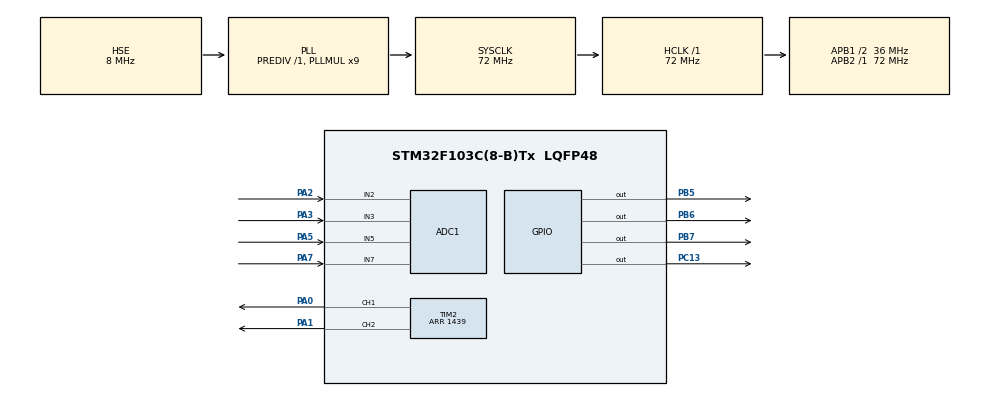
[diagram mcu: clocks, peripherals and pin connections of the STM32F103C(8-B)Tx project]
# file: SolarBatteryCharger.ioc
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ADC1.Channel-16\#ChannelRegularConversion=ADC_CHANNEL_7
ADC1.Channel-17\#ChannelRegularConversion=ADC_CHANNEL_5
ADC1.Channel-18\#ChannelRegularConversion=ADC_CHANNEL_2
ADC1.Channel-3\#ChannelRegularConversion=ADC_CHANNEL_3
ADC1.ContinuousConvMode=DISABLE
ADC1.DiscontinuousConvMode=ENABLE
ADC1.EnableAnalogWatchDog=false
ADC1.EnableInjectedConversion=DISABLE
ADC1.ExternalTrigConv=ADC_SOFTWARE_START
ADC1.NbrOfConversion=4
ADC1.NbrOfConversionFlag=1
ADC1.Rank-16\#ChannelRegularConversion=2
ADC1.Rank-17\#ChannelRegularConversion=3
ADC1.Rank-18\#ChannelRegularConversion=4
ADC1.Rank-3\#ChannelRegularConversion=1
ADC1.SamplingTime-16\#ChannelRegularConversion=ADC_SAMPLETIME_1CYCLE_5
ADC1.SamplingTime-17\#ChannelRegularConversion=ADC_SAMPLETIME_1CYCLE_5
ADC1.SamplingTime-18\#ChannelRegularConversion=ADC_SAMPLETIME_1CYCLE_5
ADC1.SamplingTime-3\#ChannelRegularConversion=ADC_SAMPLETIME_1CYCLE_5
ADC1.master=1
Mcu.Family=STM32F1
Mcu.Name=STM32F103C(8-B)Tx
Mcu.Package=LQFP48
NVIC.PriorityGroup=NVIC_PRIORITYGROUP_4
NVIC.TIM4_IRQn=true\:0\:0\:false\:false\:true\:true\:true\:true
PA0-WKUP.Signal=S_TIM2_CH1_ETR
PA1.Signal=S_TIM2_CH2
PA13.Mode=Serial_Wire
PA13.Signal=SYS_JTMS-SWDIO
PA14.Mode=Serial_Wire
PA14.Signal=SYS_JTCK-SWCLK
PA2.Signal=ADCx_IN2
PA3.Signal=ADCx_IN3
PA5.Signal=ADCx_IN5
PA7.Signal=ADCx_IN7
PB5.Signal=GPIO_Output
PB6.Signal=GPIO_Output
PB7.Signal=GPIO_Output
PC13-TAMPER-RTC.GPIO_PuPd=GPIO_NOPULL
PC13-TAMPER-RTC.Signal=GPIO_Output
PD0-OSC_IN.Mode=HSE-External-Oscillator
PD0-OSC_IN.Signal=RCC_OSC_IN
PD1-OSC_OUT.Mode=HSE-External-Oscillator
PD1-OSC_OUT.Signal=RCC_OSC_OUT
ProjectManager.HeapSize=0x200
ProjectManager.StackSize=0x400
ProjectManager.TargetToolchain=STM32CubeIDE
RCC.ADCPresc=RCC_ADCPCLK2_DIV6
RCC.AHBFreq_Value=72000000
RCC.APB1CLKDivider=RCC_HCLK_DIV2
RCC.APB1Freq_Value=36000000
RCC.APB1TimFreq_Value=72000000
RCC.APB2Freq_Value=72000000
RCC.APB2TimFreq_Value=72000000
RCC.HCLKFreq_Value=72000000
RCC.PLLMUL=RCC_PLL_MUL9
RCC.PLLSourceVirtual=RCC_PLLSOURCE_HSE
RCC.SYSCLKFreq_VALUE=72000000
RCC.SYSCLKSource=RCC_SYSCLKSOURCE_PLLCLK
RCC.USBFreq_Value=72000000
SH.ADCx_IN2.0=ADC1_IN2,IN2
SH.ADCx_IN3.0=ADC1_IN3,IN3
SH.ADCx_IN5.0=ADC1_IN5,IN5
SH.ADCx_IN7.0=ADC1_IN7,IN7
SH.S_TIM2_CH1_ETR.0=TIM2_CH1,PWM Generation1 CH1
SH.S_TIM2_CH2.0=TIM2_CH2,PWM Generation2 CH2
TIM2.Channel-PWM\ Generation1\ CH1=TIM_CHANNEL_1
TIM2.Channel-PWM\ Generation2\ CH2=TIM_CHANNEL_2
TIM2.Period=1439
TIM4.AutoReloadPreload=TIM_AUTORELOAD_PRELOAD_DISABLE
TIM4.ClockDivision=TIM_CLOCKDIVISION_DIV1
TIM4.Period=47999
TIM4.Prescaler=59999
VP_TIM4_VS_ClockSourceINT.Mode=Internal
board=custom

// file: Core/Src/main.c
/* USER CODE BEGIN Header */
/**
  ******************************************************************************
  * @file           : main.c
  * @brief          : Main program body
  ******************************************************************************
  * @attention
  *
  * Copyright (c) 2025 STMicroelectronics.
  * All rights reserved.
  *
  * This software is licensed under terms that can be found in the LICENSE file
  * in the root directory of this software component.
  * If no LICENSE file comes with this software, it is provided AS-IS.
  *
  ******************************************************************************
  */
/* USER CODE END Header */
#include "main.h"

/* USER CODE BEGIN Includes */
#define I_MAX 0.4
#define V_MAX 13.6//14.3
#define VOLT_READINGS 40
#define CURRENT_READINGS 40
#define ADC_READINGS 4
#define R2 39.0 // kOhm
#define R3 10.0 // kOhm
#define R5 47.0 // kOhm
#define R6 10.0 // kOhm
//#define R17 47.0 // kOhm
//#define R12 2.7 // kOhm
#define R19 39 // kOhm
#define R20 2.7 // kOhm
#define R_PANEL_SHUNT 3.3 // Ohm
#define R_SHUNT 0.22 // Ohm
#define Vref 3.25 // Hardcode horrible para probar

#define ADC0CAL 0
#define ADC1CAL 0
#define ADC2CAL 550
#define ADC3CAL 0

/* USER CODE END Includes */

ADC_HandleTypeDef hadc1;

TIM_HandleTypeDef htim2;
TIM_HandleTypeDef htim4;

void SystemClock_Config(void);
static void MX_GPIO_Init(void);
static void MX_TIM2_Init(void);
static void MX_ADC1_Init(void);
static void MX_TIM4_Init(void);

/* USER CODE BEGIN 0 */

uint16_t duty1 = 50;  // CH1 (PA0)
uint16_t duty2 = 35;  // CH2 (PA1)
uint16_t duty1_ccr = 720;
uint16_t duty2_ccr = 720;
uint16_t power_on_flag = 1;
float adc_readings[ADC_READINGS];
float voltage_panel[VOLT_READINGS];
float volt_panel_avg=0.0;
float voltage_battery[VOLT_READINGS];
float volt_batt_avg=0.0;
float test_shunt_panel[CURRENT_READINGS];
float current_panel_avg=0.0;
float volt1_shunt[CURRENT_READINGS];
float volt1_avg=0.0;
float load_current=0.0;

uint16_t tim4_counterr = 0; // Each count is 40s, up to the desired check value in standby mode.

/* State machine states:
	0: Standby
	1: Sunlight check
	2: Charge battery
*/
uint16_t sm_state = 0;

void SetDutyCycle(TIM_HandleTypeDef *htim, uint32_t Channel, uint32_t DutyPercent)
{
  uint32_t arr = htim->Init.Period + 1;
  uint32_t ccr = (DutyPercent * arr) / 100;
  __HAL_TIM_SET_COMPARE(htim, Channel, ccr);
}

void readADC_inputs()
{
	for(int i=0; i<ADC_READINGS; i++)
	{
		HAL_ADC_Start(&hadc1); // Start ADC Conversion
		HAL_ADC_PollForConversion(&hadc1, 1); // Poll ADC1 Peripheral & TimeOut = 1mSec
		adc_readings[i] = HAL_ADC_GetValue(&hadc1); // Read ADC Conversion Result
		HAL_Delay(1);
	}
}

void sunlightCheck()
{
	// Activate solar panel test with current source (view schematic)
	SetDutyCycle(&htim2, TIM_CHANNEL_2, duty2);
	// Wait 500ms
	HAL_Delay(500);
	// Read panel voltage divider and test current values
	for(int i=0; i < VOLT_READINGS; i++)
	{
		readADC_inputs();
		voltage_panel[i] = adc_readings[0];
		test_shunt_panel[i] = adc_readings[1];
		voltage_battery[i] = adc_readings[2];
		HAL_Delay(1);
	}

	// Deactivate solar panel test with current source
	SetDutyCycle(&htim2, TIM_CHANNEL_2, 0);

	// Average readings
	volt_panel_avg = 0;
	current_panel_avg = 0;
	volt_batt_avg = 0;
	for(int i=0; i < VOLT_READINGS; i++)
	{
		volt_panel_avg += voltage_panel[i] + ADC1CAL;
		current_panel_avg += test_shunt_panel[i] + ADC0CAL;
		volt_batt_avg += voltage_battery[i] + ADC2CAL;
	}
	// Calculate real average panel voltage and test current
	volt_panel_avg = ( ((volt_panel_avg / VOLT_READINGS)*Vref)/4095.0 ) * ((R5+R6)/R6) ;
	current_panel_avg = ( ((current_panel_avg / VOLT_READINGS)*Vref)/4095.0 ) / R_PANEL_SHUNT;
	volt_batt_avg = ( ((volt_panel_avg / VOLT_READINGS)*Vref)/4095.0 ) * ((R2+R3)/R3);
}

void testADC()
{
   // Read shunt terminal voltages
   for(int i=0; i < VOLT_READINGS; i++)
	{
		readADC_inputs();
		voltage_panel[i] = adc_readings[0];
		test_shunt_panel[i] = adc_readings[1];
		voltage_battery[i] = adc_readings[2];
		volt1_shunt[i] = adc_readings[3];
	}
   // Average readings
   volt_panel_avg = 0;
   current_panel_avg = 0;
   volt_batt_avg = 0;
   volt1_avg = 0;
   for(int i=0; i < VOLT_READINGS; i++)
   {
	   volt_panel_avg += voltage_panel[i];
	   current_panel_avg += test_shunt_panel[i];
	   volt_batt_avg += voltage_battery[i];
	   volt1_avg += volt1_shunt[i];
   }

   // Finish calculating average and real voltages

   volt_panel_avg = ( ((volt_panel_avg / VOLT_READINGS)*Vref)/4095.0 ) * ((R5+R6)/R6) ;
   current_panel_avg = current_panel_avg / VOLT_READINGS;
   load_current = (( (( (volt1_avg / VOLT_READINGS)*Vref)/4095.0) / (1 + R19/R20) )) / R_SHUNT ; // Current load
   volt_batt_avg = ( ((volt_batt_avg / VOLT_READINGS)*Vref)/4095.0 ) * ((R2+R3)/R3); // Battery voltage
}

void adjustChargerPWM()
{
   // Read shunt terminal voltages
   for(int i=0; i < VOLT_READINGS; i++)
	{
		readADC_inputs();
		voltage_panel[i] = adc_readings[0];
		voltage_battery[i] = adc_readings[2];
		volt1_shunt[i] = adc_readings[3];
	}
   // Average readings
   volt_panel_avg = 0;
   volt_batt_avg = 0;
   volt1_avg = 0;
   for(int i=0; i < VOLT_READINGS; i++)
   {
	   volt_panel_avg += voltage_panel[i] + ADC1CAL;
	   volt_batt_avg += voltage_battery[i] + ADC2CAL;
	   volt1_avg += volt1_shunt[i] + ADC0CAL;
   }

   // Finish calculating average and real voltages

   volt_panel_avg = ( ((volt_panel_avg / VOLT_READINGS)*Vref)/4095.0 ) * ((R5+R6)/R6) ;
   volt_batt_avg = ( ((volt_batt_avg / VOLT_READINGS)*Vref)/4095.0 ) * ((R2+R3)/R3); // Battery voltage
   load_current = (( (( (volt1_avg / VOLT_READINGS)*Vref)/4095.0) / (1 + R19/R20) )) / R_SHUNT ; // Current load

   // PWM Duty control logic for constant current and voltage modes

   if(load_current < I_MAX){
	  if(volt_batt_avg < V_MAX){
		 if(duty1<92)
			 duty1++;
		 HAL_Delay(2);
		 SetDutyCycle(&htim2, TIM_CHANNEL_1, duty1);
	  }
	  else{
		 if(duty1>6)
			 duty1--;
		 HAL_Delay(2);
		 SetDutyCycle(&htim2, TIM_CHANNEL_1, duty1);
	  }
   }
   else
   {
	   HAL_GPIO_WritePin(GPIOC, GPIO_PIN_13, GPIO_PIN_SET);
	   HAL_Delay(100);
	   HAL_GPIO_WritePin(GPIOC, GPIO_PIN_13, GPIO_PIN_RESET);
	   HAL_Delay(100);
   }

//   if(load_current < I_MAX){
//	  if(volt_batt_avg < V_MAX){
//		 if(duty1_ccr<1430)
//			 duty1_ccr++;
//		 HAL_Delay(1);
//		 __HAL_TIM_SET_COMPARE(&htim2, TIM_CHANNEL_1, duty1_ccr);
//	  }
//	  else{
//		 if(duty1_ccr>4)
//			duty1_ccr--;
//		 HAL_Delay(1);
//		 __HAL_TIM_SET_COMPARE(&htim2, TIM_CHANNEL_1, duty1_ccr);
//	  }
//   }
}

void updateStateLed(int state_num)
{
	switch(state_num)
	{
	case 0:
		HAL_GPIO_WritePin(GPIOB, GPIO_PIN_5, GPIO_PIN_SET);
		HAL_GPIO_WritePin(GPIOB, GPIO_PIN_6, GPIO_PIN_RESET);
		HAL_GPIO_WritePin(GPIOB, GPIO_PIN_7, GPIO_PIN_RESET);

		break;
	case 1:
		HAL_GPIO_WritePin(GPIOB, GPIO_PIN_5, GPIO_PIN_RESET);
		HAL_GPIO_WritePin(GPIOB, GPIO_PIN_6, GPIO_PIN_SET);
		HAL_GPIO_WritePin(GPIOB, GPIO_PIN_7, GPIO_PIN_RESET);
		break;
	case 2:
		HAL_GPIO_WritePin(GPIOB, GPIO_PIN_5, GPIO_PIN_RESET);
		HAL_GPIO_WritePin(GPIOB, GPIO_PIN_6, GPIO_PIN_RESET);
		HAL_GPIO_WritePin(GPIOB, GPIO_PIN_7, GPIO_PIN_SET);
		break;
	default:
		break;

	}
}

void HAL_TIM_PeriodElapsedCallback(TIM_HandleTypeDef* htim)
{
	// When turned on, uC comes here directly without waiting for the timer, so this is a fix for the moment

	if(power_on_flag)
		tim4_counterr = 0;
	else
		tim4_counterr++;

	if(tim4_counterr==1)
	{
		// Check sunlight flag every 80 seconds (for example)
		if(sm_state == 0)
		{
			sm_state = 1;
			HAL_GPIO_WritePin(GPIOC, GPIO_PIN_13, GPIO_PIN_SET);
			//HAL_Delay(1000);
		}
		tim4_counterr = 0;
	}
}

/* USER CODE END 0 */

int main(void)
{

  /* USER CODE BEGIN 1 */

	//uint16_t adc_reading = 0;

  /* USER CODE END 1 */

  /* MCU Configuration--------------------------------------------------------*/

  /* Reset of all peripherals, Initializes the Flash interface and the Systick. */
  HAL_Init();

  /* Configure the system clock */
  SystemClock_Config();

  /* Initialize all configured peripherals */
  MX_GPIO_Init();
  MX_TIM2_Init();
  MX_ADC1_Init();
  MX_TIM4_Init();
  /* USER CODE BEGIN 2 */

  HAL_TIM_Base_Start_IT(&htim4);
  HAL_TIM_PWM_Start(&htim2, TIM_CHANNEL_1);
  HAL_TIM_PWM_Start(&htim2, TIM_CHANNEL_2);
  SetDutyCycle(&htim2, TIM_CHANNEL_1, 5);
  SetDutyCycle(&htim2, TIM_CHANNEL_2, 0);

  HAL_GPIO_WritePin(GPIOB, GPIO_PIN_5|GPIO_PIN_6|GPIO_PIN_7, GPIO_PIN_RESET);

  HAL_GPIO_WritePin(GPIOC, GPIO_PIN_13, GPIO_PIN_RESET);
  HAL_Delay(500);
  HAL_GPIO_WritePin(GPIOC, GPIO_PIN_13, GPIO_PIN_SET);
  HAL_Delay(500);
  HAL_GPIO_WritePin(GPIOC, GPIO_PIN_13, GPIO_PIN_RESET);
  HAL_Delay(500);
  HAL_GPIO_WritePin(GPIOC, GPIO_PIN_13, GPIO_PIN_SET);
  HAL_Delay(500);
  HAL_GPIO_WritePin(GPIOC, GPIO_PIN_13, GPIO_PIN_RESET);
  HAL_Delay(500);
  HAL_GPIO_WritePin(GPIOC, GPIO_PIN_13, GPIO_PIN_SET);
  HAL_Delay(500);
  HAL_GPIO_WritePin(GPIOC, GPIO_PIN_13, GPIO_PIN_RESET);

  power_on_flag = 1;

  /* USER CODE END 2 */

  /* Infinite loop */
  /* USER CODE BEGIN WHILE */
  //while(1)
  //	  testADC();

  while (1)
  {

	switch(sm_state)
	{
	case 0: // Standby, timer will periodically change sm_state to 1.
		power_on_flag = 0;
		// Stay, do nothing but maintain PWM outputs OFF
		SetDutyCycle(&htim2, TIM_CHANNEL_1, 5);
		SetDutyCycle(&htim2, TIM_CHANNEL_2, 0);
		// Update indicator LEDs
		updateStateLed(sm_state);

		break;
	case 1: // Sunlight check
		// Update indicator LEDs
		HAL_GPIO_WritePin(GPIOC, GPIO_PIN_13, GPIO_PIN_RESET);
		updateStateLed(sm_state);

		sunlightCheck();

		if((volt_panel_avg >= 12.0) && (current_panel_avg >= 0.25) && volt_batt_avg < 14.3) // volt_panel_avg >= 10.0
		{
			sm_state = 2; // Go to charge battery state
			SetDutyCycle(&htim2, TIM_CHANNEL_1, 50);
			SetDutyCycle(&htim2, TIM_CHANNEL_2, 0);
		}else
			sm_state = 2;//0; bypass check for test // Go back to standby state
		break;

	case 2: // Charge battery
		// Update indicator LEDs
		updateStateLed(sm_state);
		// Charging algorithm and reading of ADCs
		adjustChargerPWM();

		if(volt_batt_avg >= 15.0 || volt_panel_avg < 12.0) // volt_panel_avg < 5.0
		{
			// Turns OFF Charger and goes to standby
			SetDutyCycle(&htim2, TIM_CHANNEL_1, 5);
			sm_state = 0;
		}
		else
			sm_state = 2;
		break;

	default:
		sm_state = 0;
		SetDutyCycle(&htim2, TIM_CHANNEL_1, 5);
		SetDutyCycle(&htim2, TIM_CHANNEL_2, 0);
		break;
	}

    /* USER CODE END WHILE */

  }
}

void SystemClock_Config(void)
{
  RCC_OscInitTypeDef RCC_OscInitStruct = {0};
  RCC_ClkInitTypeDef RCC_ClkInitStruct = {0};
  RCC_PeriphCLKInitTypeDef PeriphClkInit = {0};

  /** Initializes the RCC Oscillators according to the specified parameters
  * in the RCC_OscInitTypeDef structure.
  */
  RCC_OscInitStruct.OscillatorType = RCC_OSCILLATORTYPE_HSE;
  RCC_OscInitStruct.HSEState = RCC_HSE_ON;
  RCC_OscInitStruct.HSEPredivValue = RCC_HSE_PREDIV_DIV1;
  RCC_OscInitStruct.HSIState = RCC_HSI_ON;
  RCC_OscInitStruct.PLL.PLLState = RCC_PLL_ON;
  RCC_OscInitStruct.PLL.PLLSource = RCC_PLLSOURCE_HSE;
  RCC_OscInitStruct.PLL.PLLMUL = RCC_PLL_MUL9;
  if (HAL_RCC_OscConfig(&RCC_OscInitStruct) != HAL_OK)
  {
    Error_Handler();
  }

  /** Initializes the CPU, AHB and APB buses clocks
  */
  RCC_ClkInitStruct.ClockType = RCC_CLOCKTYPE_HCLK|RCC_CLOCKTYPE_SYSCLK
                              |RCC_CLOCKTYPE_PCLK1|RCC_CLOCKTYPE_PCLK2;
  RCC_ClkInitStruct.SYSCLKSource = RCC_SYSCLKSOURCE_PLLCLK;
  RCC_ClkInitStruct.AHBCLKDivider = RCC_SYSCLK_DIV1;
  RCC_ClkInitStruct.APB1CLKDivider = RCC_HCLK_DIV2;
  RCC_ClkInitStruct.APB2CLKDivider = RCC_HCLK_DIV1;

  if (HAL_RCC_ClockConfig(&RCC_ClkInitStruct, FLASH_LATENCY_2) != HAL_OK)
  {
    Error_Handler();
  }
  PeriphClkInit.PeriphClockSelection = RCC_PERIPHCLK_ADC;
  PeriphClkInit.AdcClockSelection = RCC_ADCPCLK2_DIV6;
  if (HAL_RCCEx_PeriphCLKConfig(&PeriphClkInit) != HAL_OK)
  {
    Error_Handler();
  }
}

static void MX_ADC1_Init(void)
{

  ADC_ChannelConfTypeDef sConfig = {0};

  /** Common config
  */
  hadc1.Instance = ADC1;
  hadc1.Init.ScanConvMode = ADC_SCAN_ENABLE;
  hadc1.Init.ContinuousConvMode = DISABLE;
  hadc1.Init.DiscontinuousConvMode = ENABLE;
  hadc1.Init.NbrOfDiscConversion = 1;
  hadc1.Init.ExternalTrigConv = ADC_SOFTWARE_START;
  hadc1.Init.DataAlign = ADC_DATAALIGN_RIGHT;
  hadc1.Init.NbrOfConversion = 4;
  if (HAL_ADC_Init(&hadc1) != HAL_OK)
  {
    Error_Handler();
  }

  /** Configure Regular Channel
  */
  sConfig.Channel = ADC_CHANNEL_3;
  sConfig.Rank = ADC_REGULAR_RANK_1;
  sConfig.SamplingTime = ADC_SAMPLETIME_1CYCLE_5;
  if (HAL_ADC_ConfigChannel(&hadc1, &sConfig) != HAL_OK)
  {
    Error_Handler();
  }

  /** Configure Regular Channel
  */
  sConfig.Channel = ADC_CHANNEL_7;
  sConfig.Rank = ADC_REGULAR_RANK_2;
  if (HAL_ADC_ConfigChannel(&hadc1, &sConfig) != HAL_OK)
  {
    Error_Handler();
  }

  /** Configure Regular Channel
  */
  sConfig.Channel = ADC_CHANNEL_5;
  sConfig.Rank = ADC_REGULAR_RANK_3;
  if (HAL_ADC_ConfigChannel(&hadc1, &sConfig) != HAL_OK)
  {
    Error_Handler();
  }

  /** Configure Regular Channel
  */
  sConfig.Channel = ADC_CHANNEL_2;
  sConfig.Rank = ADC_REGULAR_RANK_4;
  if (HAL_ADC_ConfigChannel(&hadc1, &sConfig) != HAL_OK)
  {
    Error_Handler();
  }

}

static void MX_TIM2_Init(void)
{

  TIM_MasterConfigTypeDef sMasterConfig = {0};
  TIM_OC_InitTypeDef sConfigOC = {0};

  htim2.Instance = TIM2;
  htim2.Init.Prescaler = 0;
  htim2.Init.CounterMode = TIM_COUNTERMODE_UP;
  htim2.Init.Period = 1439;
  htim2.Init.ClockDivision = TIM_CLOCKDIVISION_DIV1;
  htim2.Init.AutoReloadPreload = TIM_AUTORELOAD_PRELOAD_DISABLE;
  if (HAL_TIM_PWM_Init(&htim2) != HAL_OK)
  {
    Error_Handler();
  }
  sMasterConfig.MasterOutputTrigger = TIM_TRGO_RESET;
  sMasterConfig.MasterSlaveMode = TIM_MASTERSLAVEMODE_DISABLE;
  if (HAL_TIMEx_MasterConfigSynchronization(&htim2, &sMasterConfig) != HAL_OK)
  {
    Error_Handler();
  }
  sConfigOC.OCMode = TIM_OCMODE_PWM1;
  sConfigOC.Pulse = 0;
  sConfigOC.OCPolarity = TIM_OCPOLARITY_HIGH;
  sConfigOC.OCFastMode = TIM_OCFAST_DISABLE;
  if (HAL_TIM_PWM_ConfigChannel(&htim2, &sConfigOC, TIM_CHANNEL_1) != HAL_OK)
  {
    Error_Handler();
  }
  if (HAL_TIM_PWM_ConfigChannel(&htim2, &sConfigOC, TIM_CHANNEL_2) != HAL_OK)
  {
    Error_Handler();
  }
  HAL_TIM_MspPostInit(&htim2);

}

static void MX_TIM4_Init(void)
{

  TIM_ClockConfigTypeDef sClockSourceConfig = {0};
  TIM_MasterConfigTypeDef sMasterConfig = {0};

  htim4.Instance = TIM4;
  htim4.Init.Prescaler = 59999;
  htim4.Init.CounterMode = TIM_COUNTERMODE_UP;
  htim4.Init.Period = 47999;
  htim4.Init.ClockDivision = TIM_CLOCKDIVISION_DIV1;
  htim4.Init.AutoReloadPreload = TIM_AUTORELOAD_PRELOAD_DISABLE;
  if (HAL_TIM_Base_Init(&htim4) != HAL_OK)
  {
    Error_Handler();
  }
  sClockSourceConfig.ClockSource = TIM_CLOCKSOURCE_INTERNAL;
  if (HAL_TIM_ConfigClockSource(&htim4, &sClockSourceConfig) != HAL_OK)
  {
    Error_Handler();
  }
  sMasterConfig.MasterOutputTrigger = TIM_TRGO_RESET;
  sMasterConfig.MasterSlaveMode = TIM_MASTERSLAVEMODE_DISABLE;
  if (HAL_TIMEx_MasterConfigSynchronization(&htim4, &sMasterConfig) != HAL_OK)
  {
    Error_Handler();
  }

}

static void MX_GPIO_Init(void)
{
  GPIO_InitTypeDef GPIO_InitStruct = {0};

  /* GPIO Ports Clock Enable */
  __HAL_RCC_GPIOC_CLK_ENABLE();
  __HAL_RCC_GPIOD_CLK_ENABLE();
  __HAL_RCC_GPIOA_CLK_ENABLE();
  __HAL_RCC_GPIOB_CLK_ENABLE();

  /*Configure GPIO pin Output Level */
  HAL_GPIO_WritePin(GPIOC, GPIO_PIN_13, GPIO_PIN_RESET);

  /*Configure GPIO pin Output Level */
  HAL_GPIO_WritePin(GPIOB, GPIO_PIN_5|GPIO_PIN_6|GPIO_PIN_7, GPIO_PIN_RESET);

  /*Configure GPIO pin : PC13 */
  GPIO_InitStruct.Pin = GPIO_PIN_13;
  GPIO_InitStruct.Mode = GPIO_MODE_OUTPUT_PP;
  GPIO_InitStruct.Pull = GPIO_NOPULL;
  GPIO_InitStruct.Speed = GPIO_SPEED_FREQ_LOW;
  HAL_GPIO_Init(GPIOC, &GPIO_InitStruct);

  /*Configure GPIO pins : PB5 PB6 PB7 */
  GPIO_InitStruct.Pin = GPIO_PIN_5|GPIO_PIN_6|GPIO_PIN_7;
  GPIO_InitStruct.Mode = GPIO_MODE_OUTPUT_PP;
  GPIO_InitStruct.Pull = GPIO_NOPULL;
  GPIO_InitStruct.Speed = GPIO_SPEED_FREQ_LOW;
  HAL_GPIO_Init(GPIOB, &GPIO_InitStruct);

}

void Error_Handler(void)
{
  __disable_irq();
  while (1)
  {
  }
}
